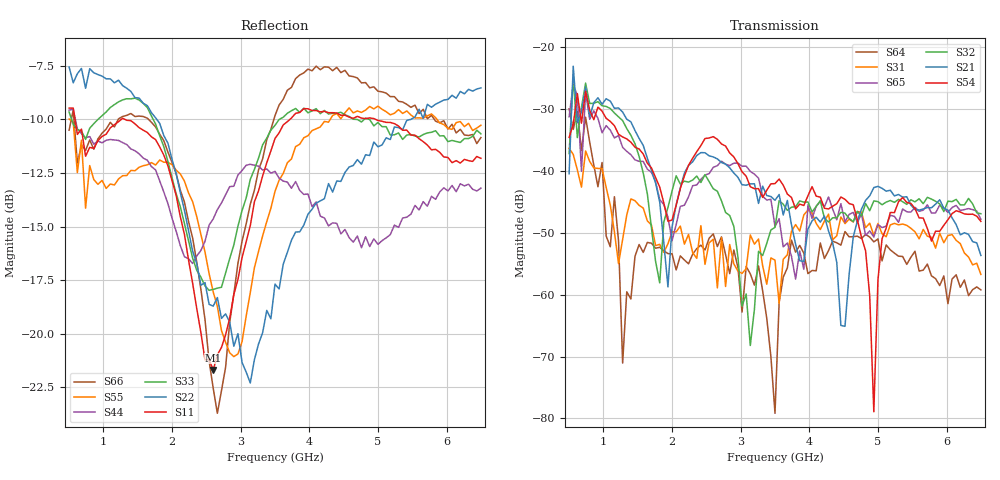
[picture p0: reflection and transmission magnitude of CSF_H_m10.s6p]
!Keysight Technologies,M9804A,MY58100912,A.14.10.03
!Date: Thursday, April 27, 2023 10:28:33
!Correction: S11(C  6-Port  )
!S12(C  6-Port  )
!S13(C  6-Port  )
!S14(C  6-Port  )
!S15(C  6-Port  )
!S16(C  6-Port  )
!S21(C  6-Port  )
!S22(C  6-Port  )
!S23(C  6-Port  )
!S24(C  6-Port  )
!S25(C  6-Port  )
!S26(C  6-Port  )
!S31(C  6-Port  )
!S32(C  6-Port  )
!S33(C  6-Port  )
!S34(C  6-Port  )
!S35(C  6-Port  )
!S36(C  6-Port  )
!S41(C  6-Port  )
!S42(C  6-Port  )
!S43(C  6-Port  )
!S44(C  6-Port  )
!S45(C  6-Port  )
!S46(C  6-Port  )
!S51(C  6-Port  )
!S52(C  6-Port  )
!S53(C  6-Port  )
!S54(C  6-Port  )
!S55(C  6-Port  )
!S56(C  6-Port  )
!S61(C  6-Port  )
!S62(C  6-Port  )
!S63(C  6-Port  )
!S64(C  6-Port  )
!S65(C  6-Port  )
!S66(C  6-Port  )
!S6P File: Measurement: :
# Hz S  RI  R 50
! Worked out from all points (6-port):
!   101 points, 500 MHz to 6.5 GHz, reference 50 ohm
!   strongest paths, dB at 500 MHz, 2 GHz, 3.5 GHz, 5 GHz, 6.5 GHz:
!     S54: -34.5, -47.9, -42.0, -57.6, -48.1
!     S21: -40.4, -49.0, -44.7, -42.5, -53.6
!     S32: -37.1, -43.2, -49.1, -44.9, -46.9
!     S65: -31.2, -51.2, -49.0, -48.6, -47.8
!     S31: -36.3, -49.8, -54.4, -48.5, -56.7
!     S64: -29.9, -53.4, -79.2, -51.0, -59.2
!   lowest |S11| = -21.7 dB at 2.6 GHz (marker M1), VSWR 1.18, Z = 42.6 + j1.98 ohm
!   |S11| at or under -10 dB: 585.8 MHz to 1.26 GHz (673.9 MHz wide, 73 % of centre); 1.315 GHz to 3.716 GHz (2.402 GHz wide, 95.5 % of centre); 4.968 GHz to end of sweep
